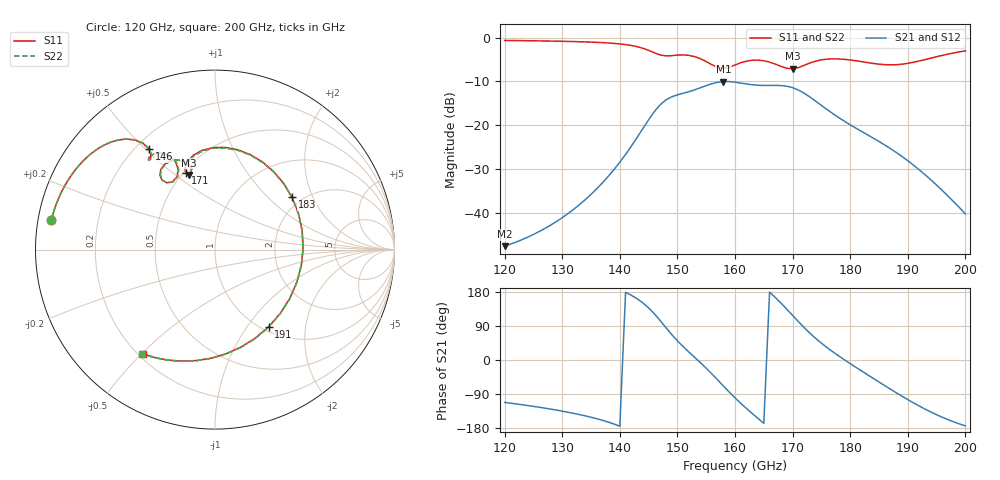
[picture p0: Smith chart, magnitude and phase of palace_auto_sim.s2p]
#  GHZ S DB R 50
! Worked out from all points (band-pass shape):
!   81 points, 120 GHz to 200 GHz, reference 50 ohm
!   highest |S21| = -10.02 dB at 158 GHz (marker M1); lowest = -47.5 dB at 120 GHz (marker M2)
!   |S21| within 3 dB of the highest: 150.1 GHz to 172.4 GHz (22.32 GHz wide, 13.8 % of centre)
!   lowest |S11| = -7.1 dB at 170 GHz (marker M3), VSWR 2.58, Z = 27.1 + j27.9 ohm
!   |S11| at or under -10 dB: nowhere
!   |S22| runs from -7.2 to -0.7 dB; largest |S21 - S12| = 1e-12
!   S11 on the Smith chart (normalised r, x): 120 GHz: 0.04, +0.09; 146 GHz: 0.25, +0.51; 171 GHz: 0.52, +0.56; 183 GHz: 1.78, +1.42; 191 GHz: 1.08, -1.27; 200 GHz: 0.22, -0.51
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120  -0.66 169.7  -47.52 -111.9  -47.52 -111.9  -0.66 169.6
127  -0.78 159.9  -43.49 -127.1  -43.49 -127.1  -0.78 159.8
134  -0.99 148.6  -36.93 -147.4  -36.93 -147.4  -0.99 148.5
142  -1.80 131.2  -24.75 170.8  -24.75 170.8  -1.81 131.1
146  -3.47 123.3  -16.87 121.9  -16.87 121.9  -3.48 123.1
147  -3.95 124.0  -15.32 104.2  -15.32 104.2  -3.97 123.8
149  -4.13 126.6  -13.50 67.4  -13.50 67.4  -4.14 126.4
153  -4.34 118.1  -11.91 7.0  -11.91 7.0  -4.36 117.8
156  -6.19 114.7  -10.51 -36.8  -10.51 -36.8  -6.22 114.4
158  -7.02 122.1  -10.02 -68.7  -10.02 -68.7  -7.06 121.8
160  -6.26 127.3  -10.16 -99.8  -10.16 -99.8  -6.29 127.1
165  -5.28 113.3  -10.92 -167.3  -10.92 -167.3  -5.32 112.8
168  -6.57 106.5  -10.93 149.9  -10.93 149.9  -6.65 106.0
170  -7.11 109.4  -11.41 117.7  -11.41 117.7  -7.21 109.0
171  -6.84 110.9  -11.95 101.4  -11.95 101.4  -6.93 110.6
174  -5.37 103.1  -14.49 57.1  -14.49 57.1  -5.43 102.8
178  -4.87 77.4  -18.22 10.8  -18.22 10.8  -4.93 76.7
183  -5.70 34.2  -22.16 -38.8  -22.16 -38.8  -5.74 33.0
187  -6.22 -9.8  -25.31 -77.1  -25.31 -77.1  -6.21 -11.3
191  -5.62 -55.1  -29.07 -113.2  -29.07 -113.2  -5.57 -56.3
195  -4.37 -91.8  -33.61 -144.4  -33.61 -144.4  -4.32 -92.7
200  -3.03 -124.4  -40.18 -173.8  -40.18 -173.8  -2.99 -124.9
